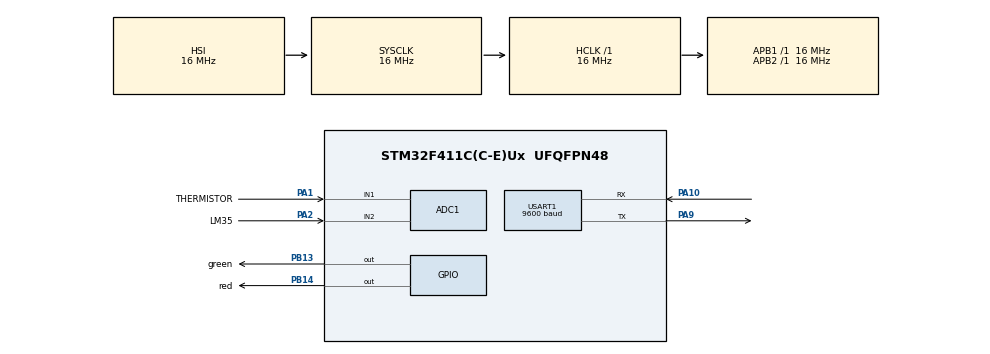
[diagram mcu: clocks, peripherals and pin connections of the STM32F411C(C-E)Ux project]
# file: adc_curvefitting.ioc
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ADC1.Channel-0\#ChannelRegularConversion=ADC_CHANNEL_1
ADC1.Channel-1\#ChannelRegularConversion=ADC_CHANNEL_2
ADC1.ClockPrescaler=ADC_CLOCK_SYNC_PCLK_DIV8
ADC1.ContinuousConvMode=DISABLE
ADC1.DiscontinuousConvMode=ENABLE
ADC1.EOCSelection=ADC_EOC_SINGLE_CONV
ADC1.NbrOfConversion=2
ADC1.NbrOfConversionFlag=1
ADC1.Rank-0\#ChannelRegularConversion=1
ADC1.Rank-1\#ChannelRegularConversion=2
ADC1.SamplingTime-0\#ChannelRegularConversion=ADC_SAMPLETIME_3CYCLES
ADC1.SamplingTime-1\#ChannelRegularConversion=ADC_SAMPLETIME_3CYCLES
ADC1.master=1
Mcu.Family=STM32F4
Mcu.Name=STM32F411C(C-E)Ux
Mcu.Package=UFQFPN48
NVIC.PriorityGroup=NVIC_PRIORITYGROUP_4
PA1.GPIO_Label=THERMISTOR
PA1.Signal=ADCx_IN1
PA10.Mode=Asynchronous
PA10.Signal=USART1_RX
PA13.Mode=Serial_Wire
PA13.Signal=SYS_JTMS-SWDIO
PA14.Mode=Serial_Wire
PA14.Signal=SYS_JTCK-SWCLK
PA2.GPIO_Label=LM35
PA2.Signal=ADCx_IN2
PA9.Mode=Asynchronous
PA9.Signal=USART1_TX
PB13.GPIO_Label=green
PB13.GPIO_ModeDefaultOutputPP=GPIO_MODE_OUTPUT_PP
PB13.GPIO_PuPd=GPIO_NOPULL
PB13.Signal=GPIO_Output
PB14.GPIO_Label=red
PB14.Signal=GPIO_Output
PC14-OSC32_IN.Mode=LSE-External-Oscillator
PC14-OSC32_IN.Signal=RCC_OSC32_IN
PC15-OSC32_OUT.Mode=LSE-External-Oscillator
PC15-OSC32_OUT.Signal=RCC_OSC32_OUT
PH0\ -\ OSC_IN.Mode=HSE-External-Oscillator
PH0\ -\ OSC_IN.Signal=RCC_OSC_IN
PH1\ -\ OSC_OUT.Mode=HSE-External-Oscillator
PH1\ -\ OSC_OUT.Signal=RCC_OSC_OUT
ProjectManager.HeapSize=0x200
ProjectManager.StackSize=0x400
ProjectManager.TargetToolchain=STM32CubeIDE
RCC.AHBFreq_Value=16000000
RCC.APB1Freq_Value=16000000
RCC.APB2Freq_Value=16000000
RCC.CortexFreq_Value=16000000
RCC.HSE_VALUE=25000000
RCC.HSI_VALUE=16000000
RCC.SYSCLKFreq_VALUE=16000000
RCC.VCOOutputFreq_Value=192000000
SH.ADCx_IN1.0=ADC1_IN1,IN1
SH.ADCx_IN2.0=ADC1_IN2,IN2
USART1.BaudRate=9600
USART1.Mode=MODE_TX_RX
USART1.VirtualMode=VM_ASYNC
board=custom

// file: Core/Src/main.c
/* USER CODE BEGIN Header */
/**
  ******************************************************************************
  * @file           : main.c
  * @brief          : Main program body
  ******************************************************************************
  * @attention
  *
  * Copyright (c) 2024 STMicroelectronics.
  * All rights reserved.
  *
  * This software is licensed under terms that can be found in the LICENSE file
  * in the root directory of this software component.
  * If no LICENSE file comes with this software, it is provided AS-IS.
  *
  ******************************************************************************
  */
/* USER CODE END Header */
#include "main.h"

/* USER CODE BEGIN Includes */
#include "stdint.h"
#include "string.h"
#include "stdio.h"
/* USER CODE END Includes */

/* USER CODE BEGIN PD */
#define ps 254
#define length 12
/* USER CODE END PD */

ADC_HandleTypeDef hadc1;

UART_HandleTypeDef huart1;

/* USER CODE BEGIN PV */
uint16_t lm35 = 0, termistos = 0;
char msg[length];
uint8_t sampling = 0;
/* USER CODE END PV */

void SystemClock_Config(void);
static void MX_GPIO_Init(void);
static void MX_ADC1_Init(void);
static void MX_USART1_UART_Init(void);

int main(void)
{

  /* MCU Configuration--------------------------------------------------------*/

  /* Reset of all peripherals, Initializes the Flash interface and the Systick. */
  HAL_Init();

  /* Configure the system clock */
  SystemClock_Config();

  /* Initialize all configured peripherals */
  MX_GPIO_Init();
  MX_ADC1_Init();
  MX_USART1_UART_Init();

  /* Infinite loop */
  while (1)
  {

    /* USER CODE BEGIN 3 */
	//Muestreamos
	for (int channel = 0; channel < 2; ++channel) {

		HAL_ADC_Start(&hadc1);
		HAL_ADC_PollForConversion(&hadc1, HAL_MAX_DELAY);

		switch (channel) {
			case 0:
				termistos = HAL_ADC_GetValue(&hadc1);
				break;
			case 1:
				lm35 = HAL_ADC_GetValue(&hadc1);
			default:
				break;
		}
	}

	//mandamos por uart info
	sprintf(msg,"%d %d\r\n",lm35,termistos);
	HAL_UART_Transmit(&huart1, (uint8_t *)msg, strlen(msg), HAL_MAX_DELAY);

	sampling++;
	if (sampling >= ps ) { //Terminamos de tomar muestras
		strcpy(msg,"fin\r\n");
		HAL_UART_Transmit(&huart1, (uint8_t *)msg, strlen(msg), HAL_MAX_DELAY);

		HAL_GPIO_WritePin(green_GPIO_Port,green_Pin,1);
		HAL_GPIO_WritePin(red_GPIO_Port,red_Pin,0);
	}else {
		HAL_GPIO_WritePin(red_GPIO_Port,red_Pin,1);
		HAL_GPIO_WritePin(green_GPIO_Port,green_Pin,0);
	}

	HAL_Delay(25);
  }
  /* USER CODE END 3 */
}

void SystemClock_Config(void)
{
  RCC_OscInitTypeDef RCC_OscInitStruct = {0};
  RCC_ClkInitTypeDef RCC_ClkInitStruct = {0};

  /** Configure the main internal regulator output voltage
  */
  __HAL_RCC_PWR_CLK_ENABLE();
  __HAL_PWR_VOLTAGESCALING_CONFIG(PWR_REGULATOR_VOLTAGE_SCALE1);

  /** Initializes the RCC Oscillators according to the specified parameters
  * in the RCC_OscInitTypeDef structure.
  */
  RCC_OscInitStruct.OscillatorType = RCC_OSCILLATORTYPE_HSI;
  RCC_OscInitStruct.HSIState = RCC_HSI_ON;
  RCC_OscInitStruct.HSICalibrationValue = RCC_HSICALIBRATION_DEFAULT;
  RCC_OscInitStruct.PLL.PLLState = RCC_PLL_NONE;
  if (HAL_RCC_OscConfig(&RCC_OscInitStruct) != HAL_OK)
  {
    Error_Handler();
  }

  /** Initializes the CPU, AHB and APB buses clocks
  */
  RCC_ClkInitStruct.ClockType = RCC_CLOCKTYPE_HCLK|RCC_CLOCKTYPE_SYSCLK
                              |RCC_CLOCKTYPE_PCLK1|RCC_CLOCKTYPE_PCLK2;
  RCC_ClkInitStruct.SYSCLKSource = RCC_SYSCLKSOURCE_HSI;
  RCC_ClkInitStruct.AHBCLKDivider = RCC_SYSCLK_DIV1;
  RCC_ClkInitStruct.APB1CLKDivider = RCC_HCLK_DIV1;
  RCC_ClkInitStruct.APB2CLKDivider = RCC_HCLK_DIV1;

  if (HAL_RCC_ClockConfig(&RCC_ClkInitStruct, FLASH_LATENCY_0) != HAL_OK)
  {
    Error_Handler();
  }
}

static void MX_ADC1_Init(void)
{

  ADC_ChannelConfTypeDef sConfig = {0};

  /** Configure the global features of the ADC (Clock, Resolution, Data Alignment and number of conversion)
  */
  hadc1.Instance = ADC1;
  hadc1.Init.ClockPrescaler = ADC_CLOCK_SYNC_PCLK_DIV8;
  hadc1.Init.Resolution = ADC_RESOLUTION_12B;
  hadc1.Init.ScanConvMode = ENABLE;
  hadc1.Init.ContinuousConvMode = DISABLE;
  hadc1.Init.DiscontinuousConvMode = ENABLE;
  hadc1.Init.NbrOfDiscConversion = 1;
  hadc1.Init.ExternalTrigConvEdge = ADC_EXTERNALTRIGCONVEDGE_NONE;
  hadc1.Init.ExternalTrigConv = ADC_SOFTWARE_START;
  hadc1.Init.DataAlign = ADC_DATAALIGN_RIGHT;
  hadc1.Init.NbrOfConversion = 2;
  hadc1.Init.DMAContinuousRequests = DISABLE;
  hadc1.Init.EOCSelection = ADC_EOC_SINGLE_CONV;
  if (HAL_ADC_Init(&hadc1) != HAL_OK)
  {
    Error_Handler();
  }

  /** Configure for the selected ADC regular channel its corresponding rank in the sequencer and its sample time.
  */
  sConfig.Channel = ADC_CHANNEL_1;
  sConfig.Rank = 1;
  sConfig.SamplingTime = ADC_SAMPLETIME_3CYCLES;
  if (HAL_ADC_ConfigChannel(&hadc1, &sConfig) != HAL_OK)
  {
    Error_Handler();
  }

  /** Configure for the selected ADC regular channel its corresponding rank in the sequencer and its sample time.
  */
  sConfig.Channel = ADC_CHANNEL_2;
  sConfig.Rank = 2;
  if (HAL_ADC_ConfigChannel(&hadc1, &sConfig) != HAL_OK)
  {
    Error_Handler();
  }

}

static void MX_USART1_UART_Init(void)
{

  huart1.Instance = USART1;
  huart1.Init.BaudRate = 9600;
  huart1.Init.WordLength = UART_WORDLENGTH_8B;
  huart1.Init.StopBits = UART_STOPBITS_1;
  huart1.Init.Parity = UART_PARITY_NONE;
  huart1.Init.Mode = UART_MODE_TX_RX;
  huart1.Init.HwFlowCtl = UART_HWCONTROL_NONE;
  huart1.Init.OverSampling = UART_OVERSAMPLING_16;
  if (HAL_UART_Init(&huart1) != HAL_OK)
  {
    Error_Handler();
  }

}

static void MX_GPIO_Init(void)
{
  GPIO_InitTypeDef GPIO_InitStruct = {0};

  /* GPIO Ports Clock Enable */
  __HAL_RCC_GPIOC_CLK_ENABLE();
  __HAL_RCC_GPIOH_CLK_ENABLE();
  __HAL_RCC_GPIOA_CLK_ENABLE();
  __HAL_RCC_GPIOB_CLK_ENABLE();

  /*Configure GPIO pin Output Level */
  HAL_GPIO_WritePin(GPIOB, green_Pin|red_Pin, GPIO_PIN_RESET);

  /*Configure GPIO pins : green_Pin red_Pin */
  GPIO_InitStruct.Pin = green_Pin|red_Pin;
  GPIO_InitStruct.Mode = GPIO_MODE_OUTPUT_PP;
  GPIO_InitStruct.Pull = GPIO_NOPULL;
  GPIO_InitStruct.Speed = GPIO_SPEED_FREQ_LOW;
  HAL_GPIO_Init(GPIOB, &GPIO_InitStruct);

}

void Error_Handler(void)
{
  __disable_irq();
  while (1)
  {
  }
}
